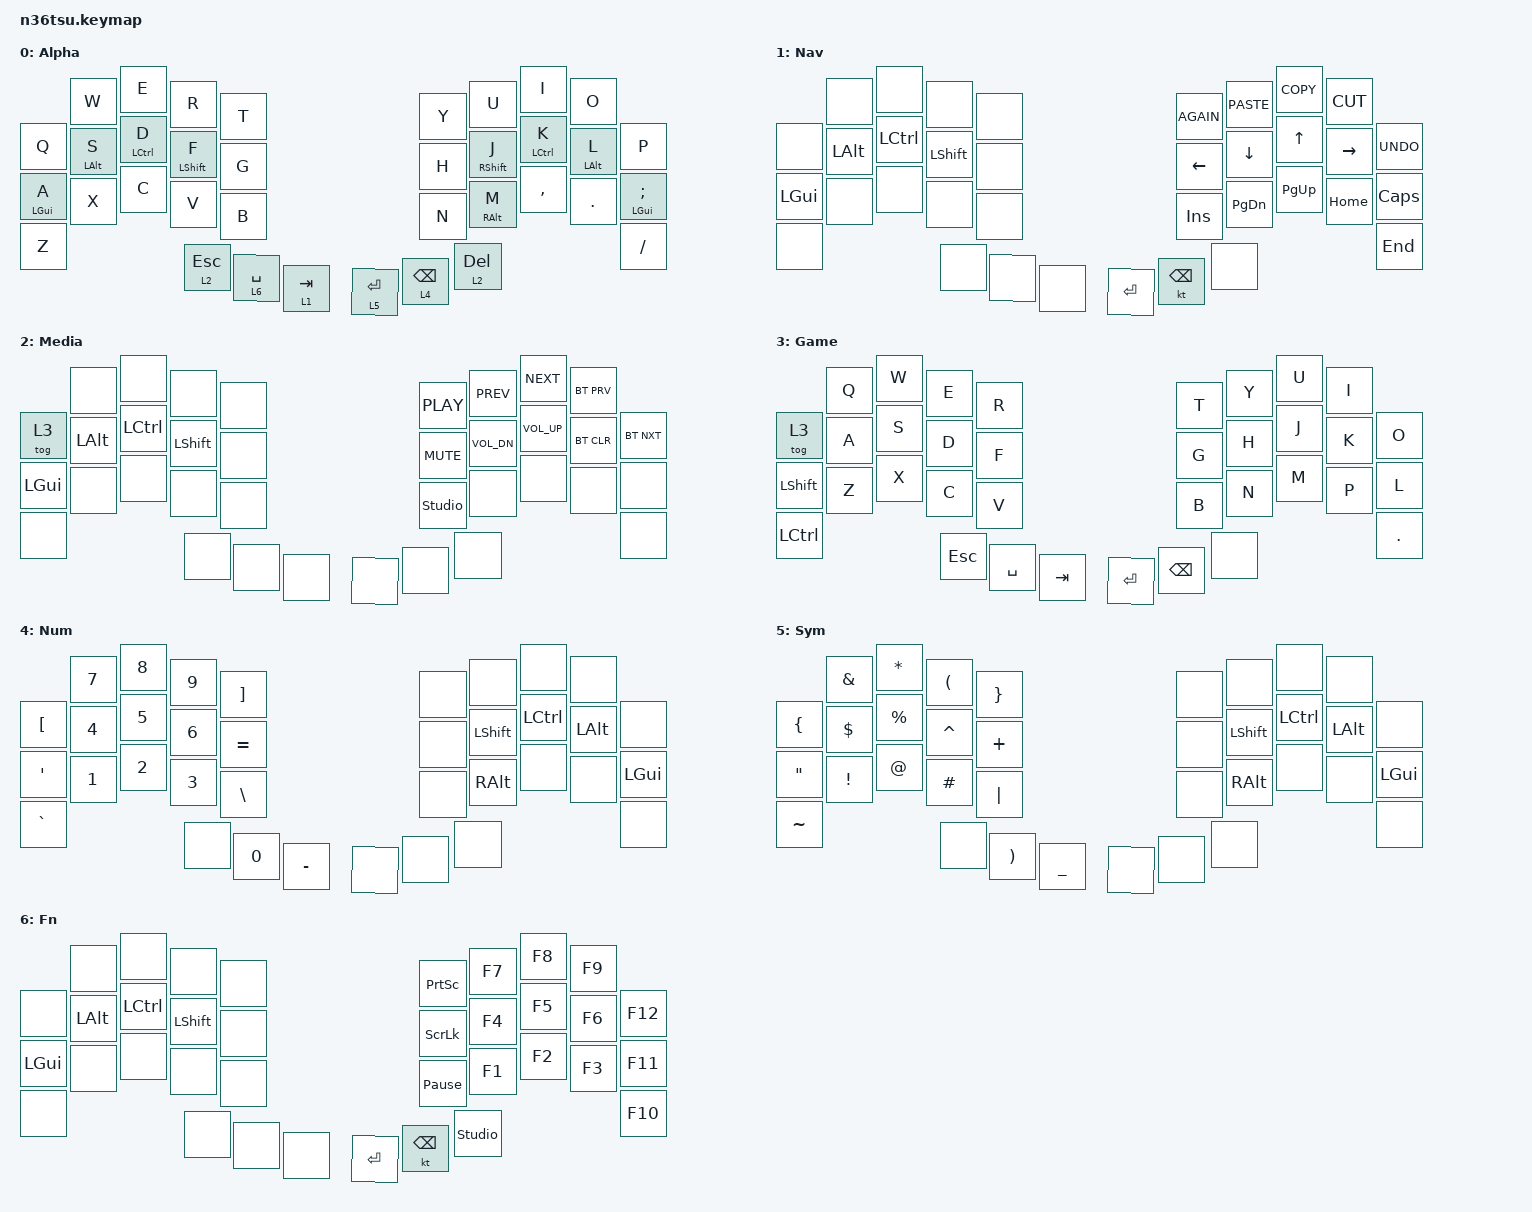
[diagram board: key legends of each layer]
#include <behaviors.dtsi>
#include <dt-bindings/zmk/keys.h>
#include <dt-bindings/zmk/bt.h>

&lt {
    tapping-term-ms = <220>;
    quick-tap-ms = <200>;
};

/ {
    behaviors {
        hm: homerow_mods {
            compatible = "zmk,behavior-hold-tap";
            #binding-cells = <2>;
            tapping-term-ms = <220>;
            quick-tap-ms = <200>;
            flavor = "tap-preferred";
            bindings = <&kp>, <&kp>;
        };
    };

    keymap {
        compatible = "zmk,keymap";

        default_layer { // Layer 0
            // |  Q  |  W  |  E  |  R  |  T  |     |  Y  |  U  |  I  |  O  |  P  |
            // |  A  |  S  |  D  |  F  |  G  |     |  H  |  J  |  K  |  L  |  ;  |
            // |  Z  |  X  |  C  |  V  |  B  |     |  N  |  M  |  ,  |  .  |  /  |
            //             | ESC | SPC | TAB |     | RET | BCK | DEL |
            label = "ALPHA";
            display-name = "Alpha";
            bindings = <
                &kp Q       &kp W      &kp E       &kp R       &kp T          &kp Y     &kp U       &kp I       &kp O      &kp P
                &hm LGUI A  &hm LALT S &hm LCTRL D &hm LSHFT F &kp G          &kp H     &hm RSHFT J &hm LCTRL K &hm LALT L &hm LGUI SEMI
                &kp Z       &kp X      &kp C       &kp V       &kp B          &kp N     &hm RALT M  &kp COMMA   &kp DOT    &kp FSLH
                                       &lt 2 ESC   &lt 6 SPACE &lt 1 TAB      &lt 5 RET &lt 4 BSPC  &lt 2 DEL
            >;
        };

        navigation { // Layer 1
            label = "NAV";
            display-name = "Nav";
            bindings = <
                &none    &none    &none     &none     &none           &kp K_AGAIN &kp K_PASTE &kp K_COPY &kp K_CUT &kp K_UNDO
                &kp LGUI &kp LALT &kp LCTRL &kp LSHFT &none           &kp LEFT    &kp DOWN    &kp UP     &kp RIGHT &kp CAPS
                &none    &none    &none     &none     &none           &kp INS     &kp PG_DN   &kp PG_UP  &kp HOME  &kp END
                                  &none     &none     &none           &kp RET     &kt BSPC    &none
            >;
        };

        media { // Layer 2
            label = "MEDIA";
            display-name = "Media";
            bindings = <
                &tog 3   &none    &none     &none     &none           &kp C_PLAY     &kp C_PREV   &kp C_NEXT    &bt BT_PRV &bt BT_NXT
                &kp LGUI &kp LALT &kp LCTRL &kp LSHFT &none           &kp C_MUTE     &kp C_VOL_DN &kp C_VOL_UP  &bt BT_CLR &none
                &none    &none    &none     &none     &none           &studio_unlock &none        &none         &none      &none
                                  &none     &none     &none           &none     &none    &none
            >;
        };

        gaming { // Layer 3
            label = "GAME";
            display-name = "Game";
            bindings = <
                &tog 3    &kp Q  &kp W  &kp E  &kp R          &kp T  &kp Y  &kp U  &kp I  &kp O
                &kp LSHFT &kp A  &kp S  &kp D  &kp F          &kp G  &kp H  &kp J  &kp K  &kp L
                &kp LCTRL &kp Z  &kp X  &kp C  &kp V          &kp B  &kp N  &kp M  &kp P  &kp DOT
                           &kp ESC &kp SPACE &kp TAB          &kp RET &kp BSPC  &none
            >;
        };

        number { // Layer 4
            label = "NUM";
            display-name = "Num";
            bindings = <
                &kp LBKT  &kp N7 &kp N8 &kp N9 &kp RBKT       &none  &none     &none     &none    &none
                &kp SQT   &kp N4 &kp N5 &kp N6 &kp EQUAL      &none  &kp LSHFT &kp LCTRL &kp LALT &kp LGUI
                &kp GRAVE &kp N1 &kp N2 &kp N3 &kp BSLH       &none  &kp RALT  &none     &none    &none
                               &none  &kp N0 &kp MINUS        &none  &none  &none
            >;
        };

        symbol { // Layer 5
            label = "SYM";
            display-name = "Sym";
            bindings = <
                &kp LBRC  &kp AMPS &kp STAR  &kp LPAR  &kp RBRC       &none  &none     &none     &none    &none
                &kp DQT   &kp DLLR &kp PRCNT &kp CARET &kp PLUS       &none  &kp LSHFT &kp LCTRL &kp LALT &kp LGUI
                &kp TILDE &kp EXCL &kp AT    &kp HASH  &kp PIPE       &none  &kp RALT  &none     &none    &none
                                     &none  &kp RPAR &kp UNDER        &none  &none  &none
            >;
        };

        function { // Layer 6
            label = "FUN";
            display-name = "Fn";
            bindings = <
                &none    &none    &none     &none     &none           &kp PRINTSCREEN &kp F7 &kp F8 &kp F9 &kp F12
                &kp LGUI &kp LALT &kp LCTRL &kp LSHFT &none           &kp SLCK        &kp F4 &kp F5 &kp F6 &kp F11
                &none    &none    &none     &none     &none           &kp PAUSE_BREAK &kp F1 &kp F2 &kp F3 &kp F10
                                  &none     &none     &none           &kp RET     &kt BSPC    &studio_unlock
            >;
        };
    };
 };
